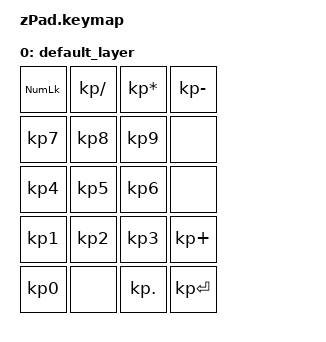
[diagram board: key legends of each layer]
// This file was generated from a template. Edit it to match your keyboard.
// See https://zmk.dev/docs/development/hardware-integration/new-shield for more instructions.

#include <behaviors.dtsi>
#include <dt-bindings/zmk/keys.h>

/ {
    // Define a default keymap here.
    // See https://zmk.dev/docs/development/hardware-integration/new-shield#default-keymap.
    keymap {
        compatible = "zmk,keymap";

        default_layer {
            bindings = <
                &kp KP_NUMLOCK  &kp KP_SLASH    &kp KP_ASTERISK &kp KP_MINUS
                &kp KP_NUMBER_7 &kp KP_NUMBER_8 &kp KP_NUMBER_9 &none
                &kp KP_NUMBER_4 &kp KP_NUMBER_5 &kp KP_NUMBER_6 &none
                &kp KP_NUMBER_1 &kp KP_NUMBER_2 &kp KP_NUMBER_3 &kp KP_PLUS
                &kp KP_NUMBER_0 &none           &kp KP_DOT      &kp KP_ENTER
            >;
        };
    };
};
